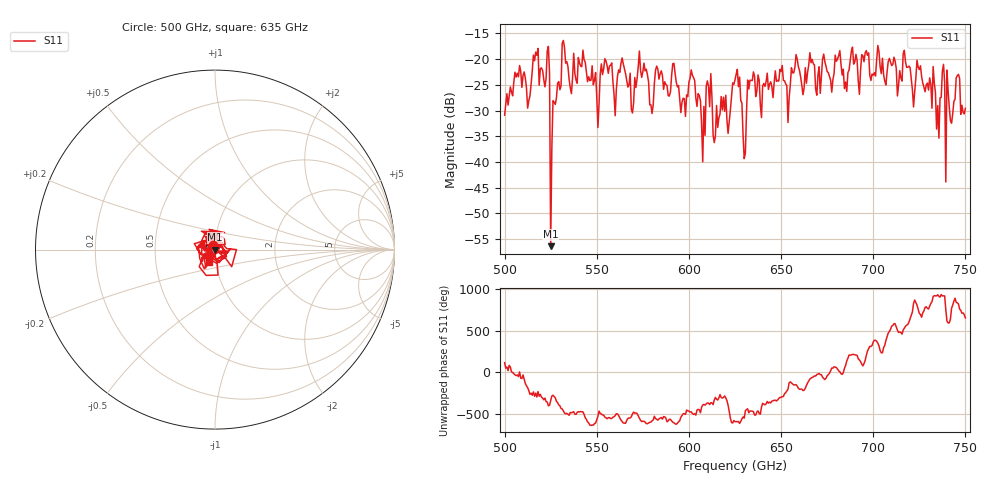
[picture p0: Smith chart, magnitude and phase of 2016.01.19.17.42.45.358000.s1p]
!Created with skrf (http://scikit-rf.org).
# GHz S RI R 50.0
!freq ReS11 ImS11
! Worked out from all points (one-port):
!   401 points, 500 GHz to 750 GHz, reference 50 ohm
!   lowest |S11| = -56.4 dB at 525 GHz (marker M1), VSWR 1.00, Z = 50.1 + j0.0394 ohm
!   |S11| at or under -10 dB: start of sweep to end of sweep
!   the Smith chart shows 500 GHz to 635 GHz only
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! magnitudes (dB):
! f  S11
! 500 GHz  -30.9
! 506.9 GHz  -22.7
! 513.1 GHz  -28.1
! 516.9 GHz  -18.6
! 523.1 GHz  -18.4
! 525 GHz  -56.4
! 526.2 GHz  -28.1
! 531.2 GHz  -16.9
! 550 GHz  -27.4
! 562.5 GHz  -22.6
! 570 GHz  -28.5
! 574.4 GHz  -23.5
! 579.4 GHz  -28.9
! 583.1 GHz  -21.9
! 593.8 GHz  -25.4
! 596.9 GHz  -27.6
! 601.9 GHz  -23.2
! 607.5 GHz  -40.0
! 610.6 GHz  -25.3
! 614.4 GHz  -34.9
! 625 GHz  -24.0
! 630 GHz  -39.4
! 634.4 GHz  -24.2
! 656.2 GHz  -22.7
! 687.5 GHz  -20.3
! 718.8 GHz  -21.6
! 735.6 GHz  -35.4
! 750 GHz  -29.6
